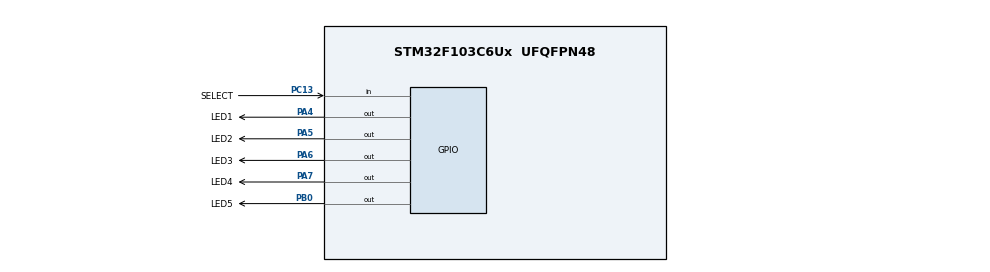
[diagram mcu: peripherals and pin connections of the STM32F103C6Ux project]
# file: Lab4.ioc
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Mcu.Family=STM32F1
Mcu.Name=STM32F103C6Ux
Mcu.Package=UFQFPN48
NVIC.PriorityGroup=NVIC_PRIORITYGROUP_4
NVIC.TIM2_IRQn=true\:0\:0\:false\:false\:true\:true\:true
PA4.GPIO_Label=LED1
PA4.Signal=GPIO_Output
PA5.GPIO_Label=LED2
PA5.Signal=GPIO_Output
PA6.GPIO_Label=LED3
PA6.Signal=GPIO_Output
PA7.GPIO_Label=LED4
PA7.Signal=GPIO_Output
PB0.GPIO_Label=LED5
PB0.Signal=GPIO_Output
PC13-TAMPER-RTC.GPIO_Label=SELECT
PC13-TAMPER-RTC.GPIO_PuPd=GPIO_PULLUP
PC13-TAMPER-RTC.Signal=GPIO_Input
ProjectManager.HeapSize=0x200
ProjectManager.StackSize=0x400
ProjectManager.TargetToolchain=STM32CubeIDE
RCC.APB1Freq_Value=8000000
RCC.APB2Freq_Value=8000000
TIM2.Period=9
TIM2.Prescaler=7999
VP_SYS_VS_ND.Mode=No_Debug
VP_TIM2_VS_ClockSourceINT.Mode=Internal
board=custom

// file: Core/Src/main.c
/* USER CODE BEGIN Header */
/**
  ******************************************************************************
  * @file           : main.c
  * @brief          : Main program body
  ******************************************************************************
  * @attention
  *
  * <h2><center>&copy; Copyright (c) 2022 STMicroelectronics.
  * All rights reserved.</center></h2>
  *
  * This software component is licensed by ST under BSD 3-Clause license,
  * the "License"; You may not use this file except in compliance with the
  * License. You may obtain a copy of the License at:
  *                        opensource.org/licenses/BSD-3-Clause
  *
  ******************************************************************************
  */
/* USER CODE END Header */
#include "main.h"

/* USER CODE BEGIN Includes */
#include "scheduler.h"
#include "button.h"
/* USER CODE END Includes */

TIM_HandleTypeDef htim2;

void SystemClock_Config(void);
static void MX_GPIO_Init(void);
static void MX_TIM2_Init(void);

/* USER CODE BEGIN 0 */
void HAL_TIM_PeriodElapsedCallback(TIM_HandleTypeDef *htim) {
	SCH_Update();
	getKeyInput();
}
void led1test() {
	HAL_GPIO_TogglePin(LED1_GPIO_Port, LED1_Pin);
}
void led2test() {
	HAL_GPIO_TogglePin(LED2_GPIO_Port, LED2_Pin);
}
void led3test() {
	HAL_GPIO_TogglePin(LED3_GPIO_Port, LED3_Pin);
}
void led4test() {
	HAL_GPIO_TogglePin(LED4_GPIO_Port, LED4_Pin);
}
void led5test() {
	if (button_SEL_flag==1) {
		button_SEL_flag=0;
		HAL_GPIO_TogglePin(LED5_GPIO_Port, LED5_Pin);
	}
}
/* USER CODE END 0 */

int main(void)
{

  /* MCU Configuration--------------------------------------------------------*/

  /* Reset of all peripherals, Initializes the Flash interface and the Systick. */
  HAL_Init();

  /* Configure the system clock */
  SystemClock_Config();

  /* Initialize all configured peripherals */
  MX_GPIO_Init();
  MX_TIM2_Init();
  /* USER CODE BEGIN 2 */
  HAL_TIM_Base_Start_IT(&htim2);
  /* USER CODE END 2 */

  /* Infinite loop */
  /* USER CODE BEGIN WHILE */
  SCH_Add_Task(led1test, 100, 0);
  SCH_Add_Task(led2test, 100, 500);
  SCH_Add_Task(led3test, 100, 300);
  SCH_Add_Task(led4test, 100, 200);
  SCH_Add_Task(led5test, 100, 100);
  while (1)
  {
	  SCH_Dispatch_Tasks();
    /* USER CODE END WHILE */

  }
}

void SystemClock_Config(void)
{
  RCC_OscInitTypeDef RCC_OscInitStruct = {0};
  RCC_ClkInitTypeDef RCC_ClkInitStruct = {0};

  /** Initializes the RCC Oscillators according to the specified parameters
  * in the RCC_OscInitTypeDef structure.
  */
  RCC_OscInitStruct.OscillatorType = RCC_OSCILLATORTYPE_HSI;
  RCC_OscInitStruct.HSIState = RCC_HSI_ON;
  RCC_OscInitStruct.HSICalibrationValue = RCC_HSICALIBRATION_DEFAULT;
  RCC_OscInitStruct.PLL.PLLState = RCC_PLL_NONE;
  if (HAL_RCC_OscConfig(&RCC_OscInitStruct) != HAL_OK)
  {
    Error_Handler();
  }
  /** Initializes the CPU, AHB and APB buses clocks
  */
  RCC_ClkInitStruct.ClockType = RCC_CLOCKTYPE_HCLK|RCC_CLOCKTYPE_SYSCLK
                              |RCC_CLOCKTYPE_PCLK1|RCC_CLOCKTYPE_PCLK2;
  RCC_ClkInitStruct.SYSCLKSource = RCC_SYSCLKSOURCE_HSI;
  RCC_ClkInitStruct.AHBCLKDivider = RCC_SYSCLK_DIV1;
  RCC_ClkInitStruct.APB1CLKDivider = RCC_HCLK_DIV1;
  RCC_ClkInitStruct.APB2CLKDivider = RCC_HCLK_DIV1;

  if (HAL_RCC_ClockConfig(&RCC_ClkInitStruct, FLASH_LATENCY_0) != HAL_OK)
  {
    Error_Handler();
  }
}

static void MX_TIM2_Init(void)
{

  TIM_ClockConfigTypeDef sClockSourceConfig = {0};
  TIM_MasterConfigTypeDef sMasterConfig = {0};

  htim2.Instance = TIM2;
  htim2.Init.Prescaler = 7999;
  htim2.Init.CounterMode = TIM_COUNTERMODE_UP;
  htim2.Init.Period = 9;
  htim2.Init.ClockDivision = TIM_CLOCKDIVISION_DIV1;
  htim2.Init.AutoReloadPreload = TIM_AUTORELOAD_PRELOAD_DISABLE;
  if (HAL_TIM_Base_Init(&htim2) != HAL_OK)
  {
    Error_Handler();
  }
  sClockSourceConfig.ClockSource = TIM_CLOCKSOURCE_INTERNAL;
  if (HAL_TIM_ConfigClockSource(&htim2, &sClockSourceConfig) != HAL_OK)
  {
    Error_Handler();
  }
  sMasterConfig.MasterOutputTrigger = TIM_TRGO_RESET;
  sMasterConfig.MasterSlaveMode = TIM_MASTERSLAVEMODE_DISABLE;
  if (HAL_TIMEx_MasterConfigSynchronization(&htim2, &sMasterConfig) != HAL_OK)
  {
    Error_Handler();
  }

}

static void MX_GPIO_Init(void)
{
  GPIO_InitTypeDef GPIO_InitStruct = {0};

  /* GPIO Ports Clock Enable */
  __HAL_RCC_GPIOC_CLK_ENABLE();
  __HAL_RCC_GPIOA_CLK_ENABLE();
  __HAL_RCC_GPIOB_CLK_ENABLE();

  /*Configure GPIO pin Output Level */
  HAL_GPIO_WritePin(GPIOA, LED1_Pin|LED2_Pin|LED3_Pin|LED4_Pin, GPIO_PIN_RESET);

  /*Configure GPIO pin Output Level */
  HAL_GPIO_WritePin(LED5_GPIO_Port, LED5_Pin, GPIO_PIN_RESET);

  /*Configure GPIO pin : SELECT_Pin */
  GPIO_InitStruct.Pin = SELECT_Pin;
  GPIO_InitStruct.Mode = GPIO_MODE_INPUT;
  GPIO_InitStruct.Pull = GPIO_PULLUP;
  HAL_GPIO_Init(SELECT_GPIO_Port, &GPIO_InitStruct);

  /*Configure GPIO pins : LED1_Pin LED2_Pin LED3_Pin LED4_Pin */
  GPIO_InitStruct.Pin = LED1_Pin|LED2_Pin|LED3_Pin|LED4_Pin;
  GPIO_InitStruct.Mode = GPIO_MODE_OUTPUT_PP;
  GPIO_InitStruct.Pull = GPIO_NOPULL;
  GPIO_InitStruct.Speed = GPIO_SPEED_FREQ_LOW;
  HAL_GPIO_Init(GPIOA, &GPIO_InitStruct);

  /*Configure GPIO pin : LED5_Pin */
  GPIO_InitStruct.Pin = LED5_Pin;
  GPIO_InitStruct.Mode = GPIO_MODE_OUTPUT_PP;
  GPIO_InitStruct.Pull = GPIO_NOPULL;
  GPIO_InitStruct.Speed = GPIO_SPEED_FREQ_LOW;
  HAL_GPIO_Init(LED5_GPIO_Port, &GPIO_InitStruct);

}

void Error_Handler(void)
{
  __disable_irq();
  while (1)
  {
  }
}

/************************ (C) COPYRIGHT STMicroelectronics *****END OF FILE****/
